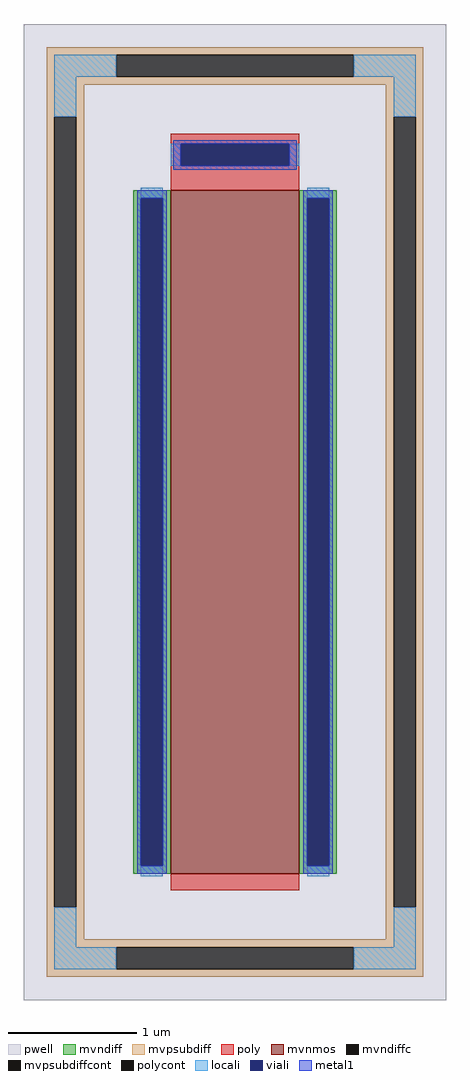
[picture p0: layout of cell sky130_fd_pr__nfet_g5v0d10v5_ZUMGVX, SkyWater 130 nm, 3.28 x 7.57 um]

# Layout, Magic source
magic
tech sky130A
magscale 1 2
<< pwell >>
rect -328 -757 328 757
<< mvnmos >>
rect -100 -561 100 499
<< mvndiff >>
rect -158 487 -100 499
rect -158 -549 -146 487
rect -112 -549 -100 487
rect -158 -561 -100 -549
rect 100 487 158 499
rect 100 -549 112 487
rect 146 -549 158 487
rect 100 -561 158 -549
<< mvndiffc >>
rect -146 -549 -112 487
rect 112 -549 146 487
<< mvpsubdiff >>
rect -292 709 292 721
rect -292 675 -184 709
rect 184 675 292 709
rect -292 663 292 675
rect -292 613 -234 663
rect -292 -613 -280 613
rect -246 -613 -234 613
rect 234 613 292 663
rect -292 -663 -234 -613
rect 234 -613 246 613
rect 280 -613 292 613
rect 234 -663 292 -613
rect -292 -675 292 -663
rect -292 -709 -184 -675
rect 184 -709 292 -675
rect -292 -721 292 -709
<< mvpsubdiffcont >>
rect -184 675 184 709
rect -280 -613 -246 613
rect 246 -613 280 613
rect -184 -709 184 -675
<< poly >>
rect -100 571 100 587
rect -100 537 -84 571
rect 84 537 100 571
rect -100 499 100 537
rect -100 -587 100 -561
<< polycont >>
rect -84 537 84 571
<< locali >>
rect -280 675 -184 709
rect 184 675 280 709
rect -280 613 -246 675
rect 246 613 280 675
rect -100 537 -84 571
rect 84 537 100 571
rect -146 487 -112 503
rect -146 -565 -112 -549
rect 112 487 146 503
rect 112 -565 146 -549
rect -280 -675 -246 -613
rect 246 -675 280 -613
rect -280 -709 -184 -675
rect 184 -709 280 -675
<< viali >>
rect -84 537 84 571
rect -146 -549 -112 487
rect 112 -549 146 487
<< metal1 >>
rect -96 571 96 577
rect -96 537 -84 571
rect 84 537 96 571
rect -96 531 96 537
rect -152 487 -106 499
rect -152 -549 -146 487
rect -112 -549 -106 487
rect -152 -561 -106 -549
rect 106 487 152 499
rect 106 -549 112 487
rect 146 -549 152 487
rect 106 -561 152 -549
<< properties >>
string FIXED_BBOX -263 -692 263 692
string gencell sky130_fd_pr__nfet_g5v0d10v5
string library sky130
string parameters w 5.3 l 1 m 1 nf 1 diffcov 100 polycov 100 guard 1 glc 1 grc 1 gtc 1 gbc 1 tbcov 100 rlcov 100 topc 1 botc 0 poverlap 0 doverlap 1 lmin 0.50 wmin 0.42 compatible {sky130_fd_pr__nfet_01v8 sky130_fd_pr__nfet_01v8_lvt  sky130_fd_bs_flash__special_sonosfet_star  sky130_fd_pr__nfet_g5v0d10v5 sky130_fd_pr__nfet_05v0_nvt  sky130_fd_pr__nfet_03v3_nvt} full_metal 1 viasrc 100 viadrn 100 viagate 100 viagb 0 viagr 0 viagl 0 viagt 0
<< end >>
